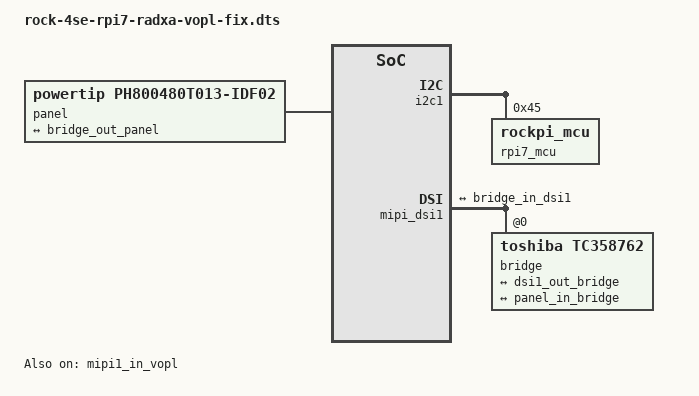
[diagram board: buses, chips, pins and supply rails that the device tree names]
// SPDX-License-Identifier: (GPL-2.0+ OR MIT)
/*
 * Raspberry Pi 7" / DFR0678 touchscreen on the Radxa ROCK 4SE:
 * Radxa-style bring-up + the VOP DSI fix. This is the overlay that puts the
 * text console (and X11/Wayland) on the DSI panel.
 *
 * Identical to rock-4se-rpi7-radxa-mcu-vopl (DSI1 fed by VOPL, VOPB disabled,
 * Radxa-style MCU/bridge bring-up) plus one property on the VOPL node, read by
 * the kernel patch rockchip-vop-dsi-bsp-parity:
 *
 *   rockchip,dsi-data01-swap  sets VOP SYS_CTRL bit 17 (the Radxa BSP sets it
 *                             for every DSI output). This is the bit that
 *                             makes pixels reach the panel (tests/0005, A4/B5).
 *
 * Test 0006 (session 18) showed that with the swap set, every dclk/pin polarity
 * combination tried (including mainline's own: dclk_pol 1, pin_pol from the mode)
 * gives a good picture, so the polarity is left alone. The patch still accepts
 * rockchip,dsi-dclk-pol / rockchip,dsi-pin-pol if they are ever needed.
 *
 * Side effect: HDMI can only use VOPL, so do not use HDMI at the same time.
 *
 * Needs the kernel patches rk3399-dsi1-dsi0-pll, dsi-lane-rate-override,
 * dfr0678-radxa-timing, tc358762-rpi7-radxa-bringup and
 * rockchip-vop-dsi-bsp-parity, and no other overlay touching I2C1 address 0x45.
 */

/dts-v1/;
/plugin/;

&{/} {
	panel {
		compatible = "powertip,ph800480t013-idf02";

		port {
			panel_in_bridge: endpoint {
				remote-endpoint = <&bridge_out_panel>;
			};
		};
	};
};

&i2c1 {
	#address-cells = <1>;
	#size-cells = <0>;
	status = "okay";

	rpi7_mcu: mcu@45 {
		compatible = "rockpi_mcu";
		reg = <0x45>;
	};
};

&vopb {
	status = "disabled";
};

&vopl {
	rockchip,dsi-data01-swap;
};

&mipi1_in_vopb {
	status = "disabled";
};

&mipi1_in_vopl {
	status = "okay";
};

&mipi_dsi1 {
	#address-cells = <1>;
	#size-cells = <0>;
	status = "okay";

	/* DSI0 supplies the shared PHY PLL while staying disabled */
	rockchip,dsi-dsi0 = <&mipi_dsi>;
	rockchip,lane-rate = <696>;

	bridge@0 {
		compatible = "toshiba,tc358762";
		reg = <0>;

		toshiba,radxa-rpi7-init;
		toshiba,radxa-mcu = <&rpi7_mcu>;

		ports {
			#address-cells = <1>;
			#size-cells = <0>;

			port@0 {
				reg = <0>;

				bridge_in_dsi1: endpoint {
					remote-endpoint = <&dsi1_out_bridge>;
				};
			};

			port@1 {
				reg = <1>;

				bridge_out_panel: endpoint {
					remote-endpoint = <&panel_in_bridge>;
				};
			};
		};
	};

	ports {
		#address-cells = <1>;
		#size-cells = <0>;

		port@1 {
			reg = <1>;

			dsi1_out_bridge: endpoint {
				remote-endpoint = <&bridge_in_dsi1>;
			};
		};
	};
};
